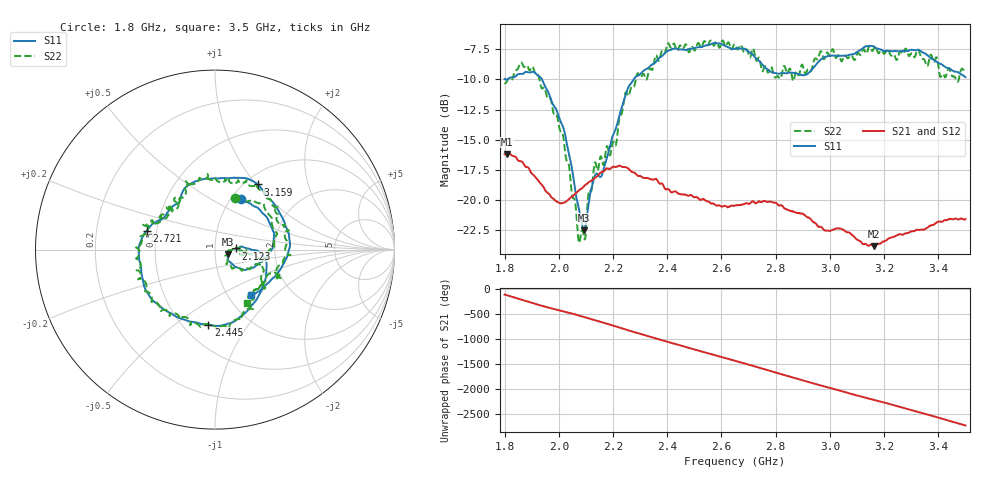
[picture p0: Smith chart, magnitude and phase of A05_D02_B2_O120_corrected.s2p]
! Created with skrf 1.9.0 (http://scikit-rf.org).
# Hz S RI R 50.0
!freq ReS11 ImS11 ReS21 ImS21 ReS12 ImS12 ReS22 ImS22
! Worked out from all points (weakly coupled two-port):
!   1601 points, 1.8 GHz to 3.5 GHz, reference 50 ohm
!   highest |S21| = -16.19 dB at 1.81 GHz (marker M1); lowest = -23.9 dB at 3.163 GHz (marker M2)
!   lowest |S11| = -22.5 dB at 2.092 GHz (marker M3), VSWR 1.16, Z = 57.5 - j2.83 ohm
!   |S11| at or under -10 dB: 1.804475 GHz to 1.808695 GHz (4.22 MHz wide, 0.234 % of centre); 1.938 GHz to 2.276 GHz (338.1 MHz wide, 16 % of centre)
!   |S22| runs from -23.6 to -6.8 dB; largest |S21 - S12| = 0.0025
!   S11 on the Smith chart (normalised r, x): 1.8 GHz: 1.11, +0.70; 2.123 GHz: 1.26, +0.02; 2.445 GHz: 0.66, -0.67; 2.721 GHz: 0.44, +0.11; 3.159 GHz: 1.14, +1.02; 3.5 GHz: 1.27, -0.72
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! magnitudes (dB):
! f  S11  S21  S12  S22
! 1.8 GHz  -10.0  -16.2  -16.2  -10.3
! 1.81 GHz  -10.0  -16.2  -16.2  -10.1
! 1.902 GHz  -9.4  -17.9  -17.8  -8.9
! 1.968 GHz  -11.5  -19.6  -19.7  -11.6
! 2.021 GHz  -14.3  -20.2  -20.2  -15.6
! 2.072 GHz  -20.5  -19.3  -19.3  -23.3
! 2.084 GHz  -21.9  -19.1  -19.0  -22.6
! 2.092 GHz  -22.5  -18.9  -18.9  -23.0
! 2.123 GHz  -18.8  -18.4  -18.3  -18.8
! 2.209 GHz  -14.2  -17.3  -17.2  -15.5
! 2.258 GHz  -10.6  -17.4  -17.4  -11.3
! 2.367 GHz  -8.3  -18.5  -18.5  -8.4
! 2.445 GHz  -7.5  -19.5  -19.5  -7.2
! 2.65 GHz  -7.4  -20.5  -20.4  -7.1
! 2.721 GHz  -8.1  -20.2  -20.1  -7.7
! 2.804 GHz  -9.5  -20.3  -20.3  -9.7
! 2.934 GHz  -9.2  -21.8  -21.7  -9.1
! 3.159 GHz  -7.2  -23.8  -23.7  -7.6
! 3.163 GHz  -7.3  -23.9  -23.8  -7.4
! 3.217 GHz  -7.6  -23.2  -23.2  -7.6
! 3.468 GHz  -9.4  -21.6  -21.6  -10.1
! 3.5 GHz  -9.8  -21.6  -21.6  -9.2
